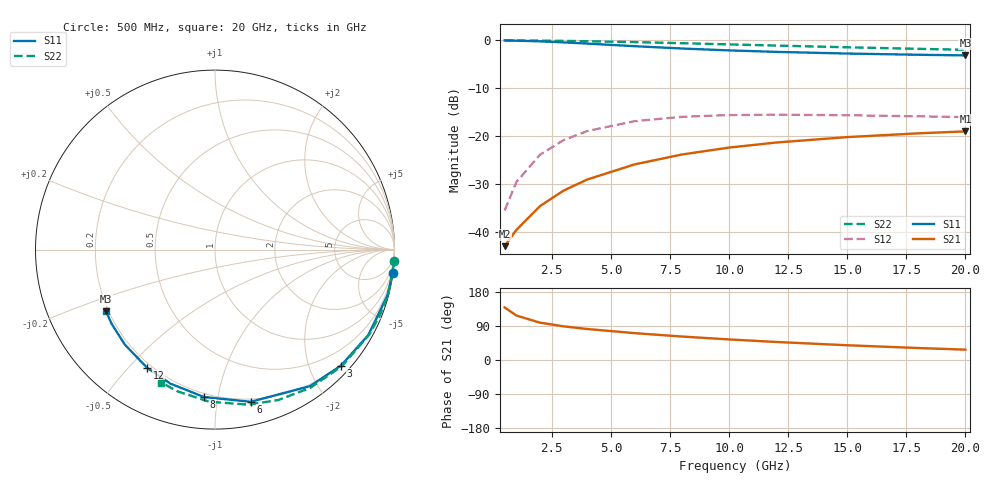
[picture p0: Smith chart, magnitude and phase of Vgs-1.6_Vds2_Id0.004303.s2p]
# Hz S RI R 50
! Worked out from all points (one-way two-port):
!   12 points, 500 MHz to 20 GHz, reference 50 ohm
!   highest |S21| = -18.98 dB at 20 GHz (marker M1); lowest = -42.9 dB at 500 MHz (marker M2)
!   lowest |S11| = -3.1 dB at 20 GHz (marker M3), VSWR 5.62, Z = 9.49 - j12.7 ohm
!   |S11| at or under -10 dB: nowhere
!   |S22| runs from -1.9 to 0.0 dB; largest |S21 - S12| = 0.12
!   S11 on the Smith chart (normalised r, x): 500 MHz: 0, -15; 3 GHz: 0.18, -2.55; 6 GHz: 0.18, -1.25; 8 GHz: 0.18, -0.91; 12 GHz: 0.18, -0.56; 20 GHz: 0.19, -0.25
5e8  0.9902 -0.129  -0.00537 0.00471  0.0016 0.0168  0.9973 -0.0643
1e9  0.9613 -0.2537  -0.00485 0.00939  0.0063 0.0328  0.9901 -0.1282
2e9  0.8543 -0.4759  -0.00278 0.0185  0.0235 0.0599  0.9621 -0.2525
3e9  0.7019 -0.6464  0.000575 0.0272  0.0474 0.0781  0.9172 -0.3692
4e9  0.5295 -0.7605  0.00508 0.0351  0.0734 0.0866  0.8575 -0.476
6e9  0.1991 -0.8479  0.0167 0.0481  0.1187 0.0813  0.7061 -0.6504
8e9  -0.0614 -0.8214  0.0304 0.057  0.1476 0.0607  0.5311 -0.77
1e10  -0.2479 -0.747  0.0445 0.0619  0.1622 0.0374  0.3533 -0.8379
1.2e10  -0.3779 -0.6588  0.0581 0.0636  0.1672 0.0164  0.1858 -0.8639
1.5e10  -0.503 -0.5288  0.0763 0.0616  0.1656 -0.00782  -0.0324 -0.8475
1.8e10  -0.5763 -0.4127  0.0915 0.0562  0.1597 -0.0245  -0.2065 -0.7906
2e10  -0.6074 -0.3438  0.1 0.0516  0.1553 -0.0327  -0.3 -0.7405
